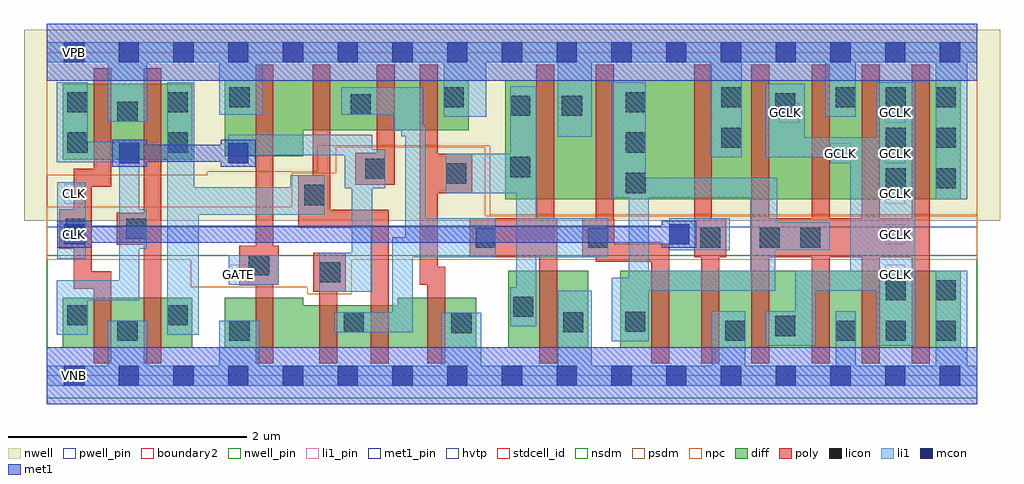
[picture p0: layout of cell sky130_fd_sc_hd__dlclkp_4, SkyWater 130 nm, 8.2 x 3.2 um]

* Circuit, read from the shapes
.subckt sky130_fd_sc_hd__dlclkp_4 CLK GATE GCLK VGND VNB VPB VPWR
XM1 VGND CLK n1 VNB sky130_fd_pr__nfet_01v8 w=0.42 l=0.15
XM2 n2 n1 VGND VNB sky130_fd_pr__nfet_01v8 w=0.42 l=0.15
XM3 n3 GATE VGND VNB sky130_fd_pr__nfet_01v8 w=0.42 l=0.15
XM4 n4 n1 n3 VNB sky130_fd_pr__nfet_01v8 w=0.36 l=0.15
XM5 n5 n2 n4 VNB sky130_fd_pr__nfet_01v8 w=0.36 l=0.15
XM6 VGND n6 n5 VNB sky130_fd_pr__nfet_01v8 w=0.42 l=0.15
XM7 VGND n4 n6 VNB sky130_fd_pr__nfet_01v8 w=0.65 l=0.15
XM8 n7 n6 n8 VNB sky130_fd_pr__nfet_01v8 w=0.65 l=0.15
XM9 VGND CLK n7 VNB sky130_fd_pr__nfet_01v8 w=0.65 l=0.15
XM10 GCLK n8 VGND VNB sky130_fd_pr__nfet_01v8 w=0.65 l=0.15 m=4
XM11 VPWR CLK n1 VPB sky130_fd_pr__pfet_01v8_hvt w=0.64 l=0.15
XM12 n2 n1 VPWR VPB sky130_fd_pr__pfet_01v8_hvt w=0.64 l=0.15
XM13 n9 GATE VPWR VPB sky130_fd_pr__pfet_01v8_hvt w=0.64 l=0.15
XM14 n4 n2 n9 VPB sky130_fd_pr__pfet_01v8_hvt w=0.42 l=0.15
XM15 n10 n1 n4 VPB sky130_fd_pr__pfet_01v8_hvt w=0.42 l=0.15
XM16 VPWR n6 n10 VPB sky130_fd_pr__pfet_01v8_hvt w=0.42 l=0.15
XM17 VPWR n4 n6 VPB sky130_fd_pr__pfet_01v8_hvt w=1 l=0.15
XM18 n8 n6 VPWR VPB sky130_fd_pr__pfet_01v8_hvt w=1 l=0.15
XM19 VPWR CLK n8 VPB sky130_fd_pr__pfet_01v8_hvt w=1 l=0.15
XM20 GCLK n8 VPWR VPB sky130_fd_pr__pfet_01v8_hvt w=1 l=0.15 m=4
.ends

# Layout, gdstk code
import gdstk
lib = gdstk.Library(unit=1e-6, precision=1e-09)
def R(c, l, rs):  # rectangles x0, y0, x1, y1
    for r in rs: c.add(gdstk.rectangle(r[:2], r[2:], *l))
def A(c, l, x, y, w, h, nx, ny, dx, dy):  # array of equal rectangles
    R(c, l, [(x+i*dx, y+j*dy, x+i*dx+w, y+j*dy+h) for i in range(nx) for j in range(ny)])
def P(c, l, *ps):  # polygons
    for p in ps: c.add(gdstk.Polygon(p, *l))
nwell_pin = (64, 16)
nwell = (64, 20)
diff = (65, 20)
poly = (66, 20)
licon = (66, 44)
li1_pin = (67, 16)
li1 = (67, 20)
mcon = (67, 44)
met1_pin = (68, 16)
met1 = (68, 20)
hvtp = (78, 44)
stdcell_id = (81, 4)
nsdm = (93, 44)
psdm = (94, 20)
npc = (95, 20)
pwell_pin = (122, 16)
boundary2 = (236, 0)

sky130_fd_sc_hd__dlclkp_ = lib.new_cell('sky130_fd_sc_hd__dlclkp_4')
R(sky130_fd_sc_hd__dlclkp_, nwell_pin, [(0.15,2.635,0.32,2.805)])
R(sky130_fd_sc_hd__dlclkp_, nwell, [(-0.19,1.305,8.01,2.91)])
R(sky130_fd_sc_hd__dlclkp_, diff, [(0.135,0.235,1.225,0.655), (3.88,0.235,4.55,0.885), (4.82,0.235,7.68,0.885), (3.855,1.485,7.68,2.485), (0.135,1.815,1.225,2.455)])
P(sky130_fd_sc_hd__dlclkp_, diff, [(1.495,1.845),(1.495,2.485),(3.545,2.485),(3.545,2.065),(2.155,2.065),(2.155,1.845)],
  [(1.495,0.235),(1.495,0.655),(2.155,0.655),(2.155,0.595),(2.95,0.595),(2.95,0.655),(3.61,0.655),(3.61,0.235)])
P(sky130_fd_sc_hd__dlclkp_, poly, [(0.395,0.105),(0.395,0.73),(0.23,0.73),(0.23,1.07),(0.105,1.07),(0.105,1.4),(0.23,1.4),(0.23,1.74),(0.395,1.74),(0.395,2.585),(0.545,2.585),(0.545,1.59),(0.38,1.59),(0.38,0.88),(0.545,0.88),(0.545,0.105)],
  [(0.815,0.105),(0.815,1.1),(0.59,1.1),(0.59,1.37),(0.815,1.37),(0.815,2.585),(0.965,2.585),(0.965,0.105)],
  [(1.755,0.105),(1.755,0.76),(1.62,0.76),(1.62,1.095),(1.755,1.095),(1.755,2.615),(1.905,2.615),(1.905,1.095),(1.95,1.095),(1.95,0.765),(1.905,0.765),(1.905,0.105)],
  [(2.29,0.105),(2.29,0.705),(2.24,0.705),(2.24,1.035),(2.515,1.035),(2.515,0.705),(2.44,0.705),(2.44,0.105)],
  [(2.725,0.105),(2.725,1.245),(2.115,1.245),(2.115,1.685),(2.235,1.685),(2.235,2.615),(2.385,2.615),(2.385,1.395),(2.875,1.395),(2.875,0.105)],
  [(2.595,1.605),(2.595,1.875),(2.775,1.875),(2.775,2.615),(2.925,2.615),(2.925,1.605)],
  [(3.2,0.105),(3.2,0.765),(3.135,0.765),(3.135,2.615),(3.285,2.615),(3.285,1.865),(3.575,1.865),(3.575,1.535),(3.285,1.535),(3.285,0.915),(3.35,0.915),(3.35,0.105)],
  [(4.14,0.105),(4.14,0.995),(3.555,0.995),(3.555,1.325),(4.115,1.325),(4.115,2.615),(4.265,2.615),(4.265,1.325),(4.29,1.325),(4.29,0.105)],
  [(5.08,0.105),(5.08,0.96),(4.615,0.96),(4.615,0.995),(4.5,0.995),(4.5,1.325),(4.615,1.325),(4.615,2.615),(4.765,2.615),(4.765,1.325),(4.77,1.325),(4.77,1.11),(5.23,1.11),(5.23,0.105)],
  [(5.5,0.105),(5.5,0.995),(5.44,0.995),(5.44,2.615),(5.59,2.615),(5.59,1.325),(5.71,1.325),(5.71,0.995),(5.65,0.995),(5.65,0.105)],
  [(5.92,0.105),(5.92,2.615),(6.07,2.615),(6.07,1.325),(6.43,1.325),(6.43,2.615),(6.58,2.615),(6.58,1.325),(6.85,1.325),(6.85,2.615),(7,2.615),(7,1.325),(7.27,1.325),(7.27,2.615),(7.42,2.615),(7.42,0.105),(7.27,0.105),(7.27,0.995),(7,0.995),(7,0.105),(6.85,0.105),(6.85,0.995),(6.58,0.995),(6.58,0.105),(6.43,0.105),(6.43,0.995),(6.07,0.995),(6.07,0.105)])
A(sky130_fd_sc_hd__dlclkp_, licon, 6.63, 0.295, 0.17, 0.17, 3, 2, 0.42, 1.96)
A(sky130_fd_sc_hd__dlclkp_, licon, 4.865, 1.535, 0.17, 0.17, 1, 3, 0, 0.34)
R(sky130_fd_sc_hd__dlclkp_, licon, [(0.595,0.295,0.765,0.465), (1.535,0.295,1.705,0.465), (5.7,0.295,5.87,0.465), (6.12,0.335,6.29,0.505), (3.4,0.36,3.57,0.53), (2.495,0.365,2.665,0.535), (4.34,0.365,4.51,0.535), (4.86,0.37,5.03,0.54), (0.175,0.425,0.345,0.595), (1.015,0.425,1.185,0.595), (3.92,0.495,4.09,0.665), (7.05,0.635,7.22,0.805), (7.47,0.635,7.64,0.805), (2.295,0.785,2.465,0.955), (1.7,0.845,1.87,1.015), (3.605,1.075,3.775,1.245), (4.55,1.075,4.72,1.245), (5.49,1.075,5.66,1.245), (5.99,1.075,6.16,1.245), (6.33,1.075,6.5,1.245), (0.16,1.15,0.33,1.32), (0.67,1.15,0.84,1.32), (2.165,1.435,2.335,1.605), (7.05,1.575,7.22,1.745), (7.47,1.575,7.64,1.745), (3.355,1.615,3.525,1.785), (2.675,1.655,2.845,1.825), (3.895,1.67,4.065,1.84), (0.175,1.875,0.345,2.045), (1.015,1.875,1.185,2.045), (5.67,1.915,5.84,2.085), (7.05,1.915,7.22,2.085), (7.47,1.915,7.64,2.085), (0.595,2.135,0.765,2.305), (3.895,2.185,4.065,2.355), (4.33,2.185,4.5,2.355), (2.555,2.195,2.725,2.365), (6.12,2.205,6.29,2.375), (0.175,2.215,0.345,2.385), (1.015,2.215,1.185,2.385), (1.535,2.255,1.705,2.425), (3.335,2.255,3.505,2.425), (5.67,2.255,5.84,2.425)])
A(sky130_fd_sc_hd__dlclkp_, li1_pin, 7.045, 0.765, 0.17, 0.17, 1, 5, 0, 0.34)
R(sky130_fd_sc_hd__dlclkp_, li1_pin, [(1.53,0.765,1.7,0.935), (0.15,1.105,0.32,1.275), (0.15,1.445,0.32,1.615), (6.585,1.785,6.755,1.955), (6.155,2.125,6.325,2.295)])
R(sky130_fd_sc_hd__dlclkp_, li1, [(1.53,0.765,1.95,1.015), (0.09,0.985,0.33,1.625), (5.23,1.055,5.74,1.325)])
P(sky130_fd_sc_hd__dlclkp_, li1, [(0,-0.085),(0,0.085),(0.515,0.085),(0.515,0.465),(0.845,0.465),(0.845,0.085),(1.45,0.085),(1.45,0.465),(1.785,0.465),(1.785,0.085),(3.315,0.085),(3.315,0.53),(3.65,0.53),(3.65,0.085),(4.295,0.085),(4.295,0.715),(4.58,0.715),(4.58,0.085),(5.59,0.085),(5.59,0.545),(5.87,0.545),(5.87,0.085),(6.63,0.085),(6.63,0.545),(6.8,0.545),(6.8,0.085),(7.47,0.085),(7.47,0.885),(7.735,0.885),(7.735,0.085),(7.82,0.085),(7.82,-0.085)],
  [(7.47,1.485),(7.47,2.635),(6.8,2.635),(6.8,2.175),(6.54,2.175),(6.54,2.635),(5.84,2.635),(5.84,1.835),(5.575,1.835),(5.575,2.635),(4.58,2.635),(4.58,2.01),(4.295,2.01),(4.295,2.635),(3.695,2.635),(3.695,2.175),(3.335,2.175),(3.335,2.635),(1.815,2.635),(1.815,2.195),(1.45,2.195),(1.45,2.635),(0.845,2.635),(0.845,2.135),(0.515,2.135),(0.515,2.635),(0,2.635),(0,2.805),(7.82,2.805),(7.82,2.635),(7.735,2.635),(7.735,1.485)],
  [(0.085,0.345),(0.085,0.805),(0.61,0.805),(0.61,1.795),(0.085,1.795),(0.085,2.465),(0.345,2.465),(0.345,1.965),(0.78,1.965),(0.78,1.4),(0.84,1.4),(0.84,1.07),(0.78,1.07),(0.78,0.635),(0.345,0.635),(0.345,0.345)],
  [(1.015,0.345),(1.015,2.465),(1.24,2.465),(1.24,1.585),(2.045,1.585),(2.045,1.685),(2.335,1.685),(2.335,1.355),(1.28,1.355),(1.28,0.345)],
  [(2.29,0.705),(2.29,1.035),(2.565,1.035),(2.565,1.575),(2.505,1.575),(2.505,1.855),(1.695,1.855),(1.695,1.785),(1.525,1.785),(1.525,2.025),(2.735,2.025),(2.735,1.905),(2.845,1.905),(2.845,1.575),(2.735,1.575),(2.735,0.705)],
  [(2.415,0.365),(2.415,0.535),(2.905,0.535),(2.905,1.165),(3.015,1.165),(3.015,2.015),(2.98,2.015),(2.98,2.06),(2.915,2.06),(2.915,2.195),(2.475,2.195),(2.475,2.425),(3.165,2.425),(3.165,2.105),(3.18,2.105),(3.18,2.09),(3.185,2.09),(3.185,1.325),(3.775,1.325),(3.775,0.995),(3.075,0.995),(3.075,0.365)],
  [(3.895,0.415),(3.895,0.745),(3.945,0.745),(3.945,1.535),(3.355,1.535),(3.355,1.865),(3.895,1.865),(3.895,2.435),(4.115,2.435),(4.115,1.325),(4.72,1.325),(4.72,0.995),(4.115,0.995),(4.115,0.415)],
  [(4.75,0.29),(4.75,0.825),(4.89,0.825),(4.89,1.495),(4.75,1.495),(4.75,2.465),(5.035,2.465),(5.035,1.665),(5.91,1.665),(5.91,1.495),(5.06,1.495),(5.06,0.885),(5.91,0.885),(5.91,1.665),(6.14,1.665),(6.14,1.29),(6.58,1.29),(6.58,1.055),(6.12,1.055),(6.12,0.715),(5.06,0.715),(5.06,0.29)],
  [(6.04,0.255),(6.04,0.545),(6.29,0.545),(6.29,0.885),(6.75,0.885),(6.75,1.785),(6.585,1.785),(6.585,1.835),(6.04,1.835),(6.04,2.455),(6.37,2.455),(6.37,2.005),(6.97,2.005),(6.97,2.465),(7.3,2.465),(7.3,0.255),(6.97,0.255),(6.97,0.715),(6.46,0.715),(6.46,0.255)])
A(sky130_fd_sc_hd__dlclkp_, mcon, 0.145, -0.085, 0.17, 0.17, 17, 2, 0.46, 2.72)
R(sky130_fd_sc_hd__dlclkp_, mcon, [(0.15,1.105,0.32,1.275), (5.23,1.105,5.4,1.275), (0.61,1.785,0.78,1.955), (1.525,1.785,1.695,1.955)])
R(sky130_fd_sc_hd__dlclkp_, met1_pin, [(0.15,-0.085,0.32,0.085), (0.15,-0.085,0.32,0.085), (0.15,2.635,0.32,2.805), (0.15,2.635,0.32,2.805)])
R(sky130_fd_sc_hd__dlclkp_, met1, [(0,-0.24,7.82,0.24), (0,2.48,7.82,2.96)])
P(sky130_fd_sc_hd__dlclkp_, met1, [(0.55,1.755),(0.55,1.985),(0.84,1.985),(0.84,1.94),(1.465,1.94),(1.465,1.985),(1.755,1.985),(1.755,1.755),(1.465,1.755),(1.465,1.8),(0.84,1.8),(0.84,1.755)],
  [(0.09,1.075),(0.09,1.305),(0.38,1.305),(0.38,1.26),(5.17,1.26),(5.17,1.305),(5.46,1.305),(5.46,1.075),(5.17,1.075),(5.17,1.12),(0.38,1.12),(0.38,1.075)])
R(sky130_fd_sc_hd__dlclkp_, hvtp, [(0,1.25,7.82,2.72), (0,1.25,7.82,2.72)])
R(sky130_fd_sc_hd__dlclkp_, stdcell_id, [(0,0,7.82,2.72)])
R(sky130_fd_sc_hd__dlclkp_, nsdm, [(0,-0.19,7.82,1.015)])
P(sky130_fd_sc_hd__dlclkp_, psdm, [(3.725,1.355),(3.725,1.935),(2.28,1.935),(2.28,1.715),(1.35,1.715),(1.35,1.685),(0,1.685),(0,2.91),(7.82,2.91),(7.82,1.355)])
P(sky130_fd_sc_hd__dlclkp_, npc, [(2.19,0.685),(2.19,0.745),(1.21,0.745),(1.21,0.975),(0,0.975),(0,1.42),(2.06,1.42),(2.06,1.705),(2.43,1.705),(2.43,1.925),(3.685,1.925),(3.685,1.345),(7.82,1.345),(7.82,0.975),(2.565,0.975),(2.565,0.685)])
R(sky130_fd_sc_hd__dlclkp_, pwell_pin, [(0.15,-0.085,0.32,0.085)])
R(sky130_fd_sc_hd__dlclkp_, boundary2, [(0,0,7.82,2.72)])
sky130_fd_sc_hd__dlclkp_.add(gdstk.Label('CLK', (0.235,1.53), layer=67, texttype=5))
sky130_fd_sc_hd__dlclkp_.add(gdstk.Label('GCLK', (6.67,1.87), layer=67, texttype=5))
sky130_fd_sc_hd__dlclkp_.add(gdstk.Label('GCLK', (7.13,0.85), layer=67, texttype=5))
sky130_fd_sc_hd__dlclkp_.add(gdstk.Label('GCLK', (7.13,2.21), layer=67, texttype=5))
sky130_fd_sc_hd__dlclkp_.add(gdstk.Label('GCLK', (7.13,1.87), layer=67, texttype=5))
sky130_fd_sc_hd__dlclkp_.add(gdstk.Label('GCLK', (7.13,1.19), layer=67, texttype=5))
sky130_fd_sc_hd__dlclkp_.add(gdstk.Label('GCLK', (6.21,2.21), layer=67, texttype=5))
sky130_fd_sc_hd__dlclkp_.add(gdstk.Label('GCLK', (7.13,1.53), layer=67, texttype=5))
sky130_fd_sc_hd__dlclkp_.add(gdstk.Label('CLK', (0.235,1.19), layer=67, texttype=5))
sky130_fd_sc_hd__dlclkp_.add(gdstk.Label('GATE', (1.615,0.85), layer=67, texttype=5))
sky130_fd_sc_hd__dlclkp_.add(gdstk.Label('VNB', (0.235,0), layer=64, texttype=59))
sky130_fd_sc_hd__dlclkp_.add(gdstk.Label('VPB', (0.235,2.72), layer=64, texttype=5))
sky130_fd_sc_hd__dlclkp_.add(gdstk.Label('VPWR', (0.235,2.72), layer=68, texttype=5))
sky130_fd_sc_hd__dlclkp_.add(gdstk.Label('VGND', (0.235,0), layer=68, texttype=5))
sky130_fd_sc_hd__dlclkp_.add(gdstk.Label('VGND', (0.235,0), layer=68, texttype=5))
sky130_fd_sc_hd__dlclkp_.add(gdstk.Label('VPWR', (0.235,2.72), layer=68, texttype=5))
sky130_fd_sc_hd__dlclkp_.add(gdstk.Label('dlclkp_4', (0,0), layer=83, texttype=44))

lib.write_gds('sky130_fd_sc_hd__dlclkp_4.gds')
